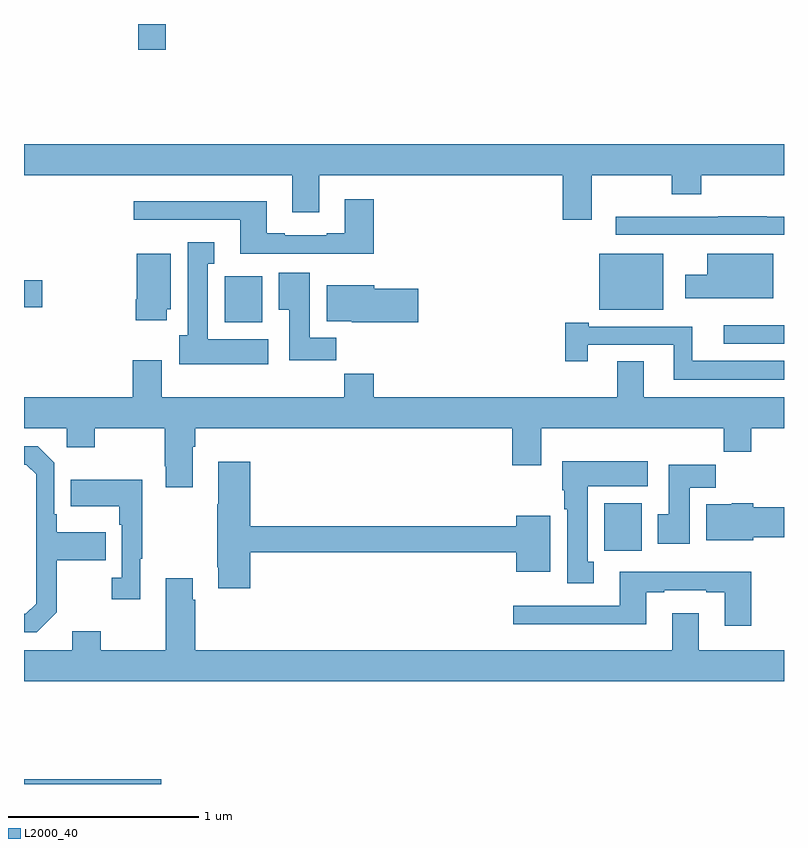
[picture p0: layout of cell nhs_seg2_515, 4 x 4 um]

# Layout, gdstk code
import gdstk
lib = gdstk.Library(unit=1e-6, precision=1e-09)
def R(c, l, rs):  # rectangles x0, y0, x1, y1
    for r in rs: c.add(gdstk.rectangle(r[:2], r[2:], *l))
def P(c, l, *ps):  # polygons
    for p in ps: c.add(gdstk.Polygon(p, *l))
L2000_40 = (2000, 40)

nhs_seg2_515 = lib.new_cell('nhs_seg2_515')
R(nhs_seg2_515, L2000_40, [(137,609.8,137.722,609.824), (140.055,611.028,140.251,611.278), (140.682,612.117,141,612.214), (138.056,612.23,138.253,612.472), (140.027,612.296,140.365,612.592), (137,612.31,137.095,612.452), (137.6,613.665,137.747,613.8)])
P(nhs_seg2_515, L2000_40, [(139.987,613.004),(140.41,613.004),(140.41,612.905),(140.565,612.905),(140.565,613.004),(141,613.004),(141,613.168),(137,613.168),(137,613.004),(138.413,613.004),(138.413,612.81),(138.553,612.81),(138.553,613.004),(139.835,613.004),(139.835,612.771),(139.987,612.771)],
  [(138.842,612.877),(138.689,612.877),(138.689,612.7),(138.593,612.7),(138.593,612.687),(138.373,612.687),(138.373,612.7),(138.277,612.7),(138.277,612.868),(137.577,612.868),(137.577,612.771),(138.137,612.771),(138.137,612.591),(138.601,612.591),(138.601,612.59),(138.842,612.59)],
  [(141,612.786),(140.909,612.786),(140.909,612.788),(140.653,612.788),(140.653,612.786),(140.115,612.786),(140.115,612.69),(141,612.69)],
  [(138.286,612.142),(137.968,612.142),(137.968,612.539),(138.001,612.539),(138.001,612.652),(137.861,612.652),(137.861,612.162),(137.816,612.162),(137.816,612.008),(138.286,612.008)],
  [(137.752,612.3),(137.773,612.3),(137.773,612.592),(137.594,612.592),(137.594,612.352),(137.587,612.352),(137.587,612.24),(137.752,612.24)],
  [(140.944,612.592),(140.597,612.592),(140.597,612.481),(140.48,612.481),(140.48,612.356),(140.944,612.356)],
  [(138.644,612.148),(138.505,612.148),(138.505,612.49),(138.341,612.49),(138.341,612.296),(138.395,612.296),(138.395,612.03),(138.644,612.03)],
  [(139.075,612.407),(138.844,612.407),(138.844,612.424),(138.593,612.424),(138.593,612.236),(138.726,612.236),(138.726,612.23),(139.075,612.23)],
  [(141,612.028),(140.518,612.028),(140.518,612.207),(139.972,612.207),(139.972,612.227),(139.849,612.227),(139.849,612.024),(139.966,612.024),(139.966,612.111),(140.42,612.111),(140.42,611.927),(141,611.927)],
  [(137.573,612.031),(137.573,611.836),(137,611.836),(137,611.672),(137.226,611.672),(137.226,611.573),(137.373,611.573),(137.373,611.672),(137.74,611.672),(137.74,611.473),(137.747,611.473),(137.747,611.361),(137.887,611.361),(137.887,611.576),(137.9,611.576),(137.9,611.672),(139.571,611.672),(139.571,611.478),(139.723,611.478),(139.723,611.672),(140.683,611.672),(140.683,611.548),(140.827,611.548),(140.827,611.672),(141,611.672),(141,611.836),(140.263,611.836),(140.263,612.026),(140.123,612.026),(140.123,611.836),(138.842,611.836),(138.842,611.96),(138.685,611.96),(138.685,611.836),(137.725,611.836),(137.725,612.031)],
  [(137.173,610.705),(137.173,610.978),(137.429,610.978),(137.429,611.125),(137.173,611.125),(137.173,611.221),(137.16,611.221),(137.16,611.49),(137.073,611.577),(137,611.577),(137,611.481),(137.013,611.481),(137.064,611.43),(137.064,610.749),(137.01,610.695),(137,610.695),(137,610.599),(137.067,610.599)],
  [(139.999,610.969),(139.966,610.969),(139.966,611.366),(140.284,611.366),(140.284,611.5),(139.832,611.5),(139.832,611.346),(139.844,611.346),(139.844,611.246),(139.859,611.246),(139.859,610.857),(139.999,610.857)],
  [(138.191,611.02),(139.592,611.02),(139.592,610.916),(139.771,610.916),(139.771,611.212),(139.592,611.212),(139.592,611.156),(138.191,611.156),(138.191,611.497),(138.023,611.497),(138.023,611.273),(138.016,611.273),(138.016,610.942),(138.023,610.942),(138.023,610.83),(138.191,610.83)],
  [(140.503,611.36),(140.642,611.36),(140.642,611.479),(140.393,611.479),(140.393,611.22),(140.336,611.22),(140.336,611.064),(140.503,611.064)],
  [(137.611,610.985),(137.623,610.985),(137.623,611.401),(137.245,611.401),(137.245,611.261),(137.502,611.261),(137.502,611.165),(137.514,611.165),(137.514,610.886),(137.463,610.886),(137.463,610.773),(137.611,610.773)],
  [(140.838,611.099),(141,611.099),(141,611.257),(140.838,611.257),(140.838,611.278),(140.724,611.278),(140.724,611.272),(140.591,611.272),(140.591,611.084),(140.838,611.084)],
  [(140.827,610.918),(140.135,610.918),(140.135,610.737),(139.575,610.737),(139.575,610.64),(140.275,610.64),(140.275,610.809),(140.371,610.809),(140.371,610.821),(140.591,610.821),(140.591,610.809),(140.687,610.809),(140.687,610.632),(140.827,610.632)],
  [(141,610.504),(140.551,610.504),(140.551,610.699),(140.411,610.699),(140.411,610.504),(137.9,610.504),(137.9,610.769),(137.887,610.769),(137.887,610.882),(137.747,610.882),(137.747,610.504),(137.403,610.504),(137.403,610.603),(137.255,610.603),(137.255,610.504),(137,610.504),(137,610.34),(141,610.34)])

lib.write_gds('nhs_seg2_515.gds')
